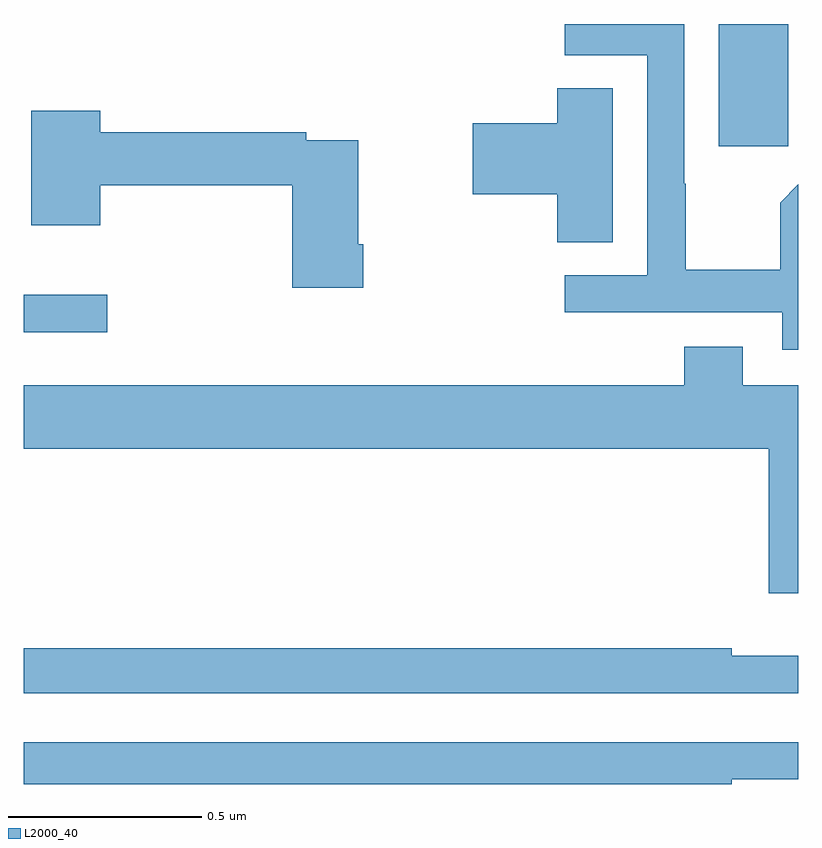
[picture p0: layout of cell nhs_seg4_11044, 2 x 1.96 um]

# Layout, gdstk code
import gdstk
lib = gdstk.Library(unit=1e-6, precision=1e-09)
def R(c, l, rs):  # rectangles x0, y0, x1, y1
    for r in rs: c.add(gdstk.rectangle(r[:2], r[2:], *l))
def P(c, l, *ps):  # polygons
    for p in ps: c.add(gdstk.Polygon(p, *l))
L2000_40 = (2000, 40)

nhs_seg4_11044 = lib.new_cell('nhs_seg4_11044')
R(nhs_seg4_11044, L2000_40, [(247,813.104,247.216,813.201), (248.795,813.585,248.974,813.9)])
P(nhs_seg4_11044, L2000_40, [(249,813.486),(248.953,813.439),(248.953,813.265),(248.709,813.265),(248.709,813.488),(248.706,813.488),(248.706,813.9),(248.397,813.9),(248.397,813.819),(248.61,813.819),(248.61,813.252),(248.397,813.252),(248.397,813.156),(248.958,813.156),(248.958,813.059),(249,813.059)],
  [(248.521,813.734),(248.378,813.734),(248.378,813.644),(248.16,813.644),(248.16,813.461),(248.378,813.461),(248.378,813.337),(248.521,813.337)],
  [(247.877,813.331),(247.864,813.331),(247.864,813.6),(247.73,813.6),(247.73,813.62),(247.198,813.62),(247.198,813.676),(247.019,813.676),(247.019,813.38),(247.198,813.38),(247.198,813.484),(247.694,813.484),(247.694,813.219),(247.877,813.219)],
  [(249,812.968),(248.857,812.968),(248.857,813.067),(248.705,813.067),(248.705,812.968),(247,812.968),(247,812.804),(248.924,812.804),(248.924,812.43),(249,812.43)],
  [(249,812.269),(248.828,812.269),(248.828,812.288),(247,812.288),(247,812.172),(249,812.172)],
  [(248.828,811.95),(249,811.95),(249,812.046),(247,812.046),(247,811.938),(248.828,811.938)])

lib.write_gds('nhs_seg4_11044.gds')
